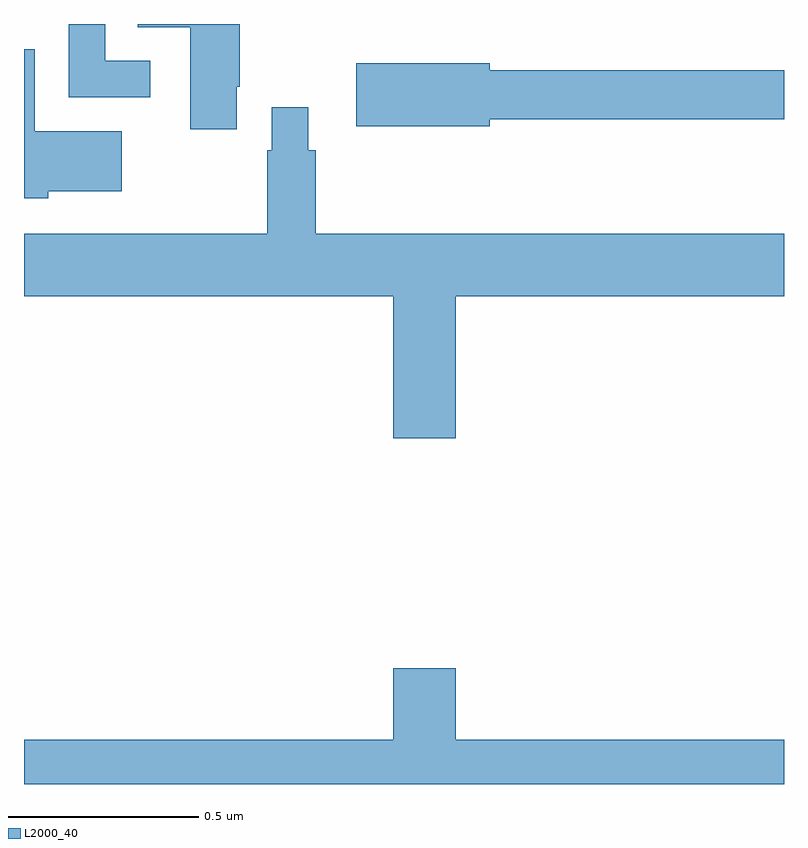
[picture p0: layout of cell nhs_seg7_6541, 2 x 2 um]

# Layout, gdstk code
import gdstk
lib = gdstk.Library(unit=1e-6, precision=1e-09)
def P(c, l, *ps):  # polygons
    for p in ps: c.add(gdstk.Polygon(p, *l))
L2000_40 = (2000, 40)

nhs_seg7_6541 = lib.new_cell('nhs_seg7_6541')
P(nhs_seg7_6541, L2000_40, [(200.332,999.903),(200.214,999.903),(200.214,1000),(200.118,1000),(200.118,999.807),(200.332,999.807)],
  [(200.56,999.835),(200.568,999.835),(200.568,1000),(200.299,1000),(200.299,999.992),(200.438,999.992),(200.438,999.723),(200.56,999.723)],
  [(200.064,999.56),(200.257,999.56),(200.257,999.718),(200.028,999.718),(200.028,999.934),(200,999.934),(200,999.542),(200.064,999.542)],
  [(201.226,999.75),(202,999.75),(202,999.878),(201.226,999.878),(201.226,999.897),(200.874,999.897),(200.874,999.731),(201.226,999.731)],
  [(201.136,999.284),(202,999.284),(202,999.448),(200.768,999.448),(200.768,999.668),(200.748,999.668),(200.748,999.781),(200.652,999.781),(200.652,999.668),(200.64,999.668),(200.64,999.448),(200,999.448),(200,999.284),(200.972,999.284),(200.972,998.91),(201.136,998.91)],
  [(202,998.116),(201.136,998.116),(201.136,998.305),(200.972,998.305),(200.972,998.116),(200,998.116),(200,998),(202,998)])

lib.write_gds('nhs_seg7_6541.gds')
